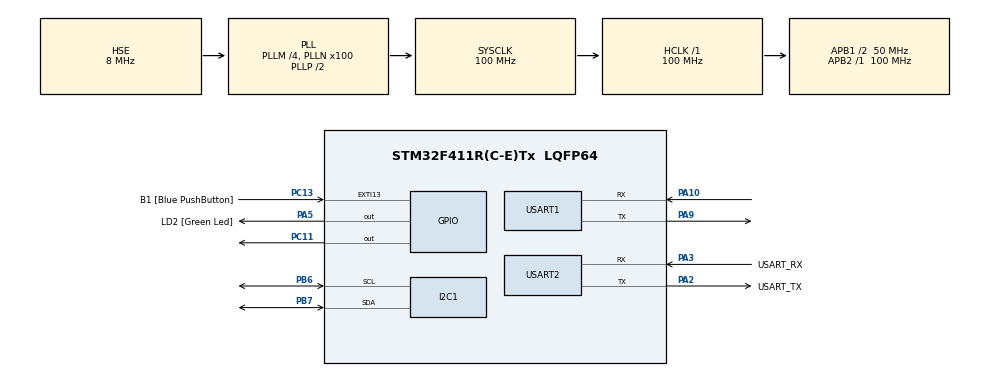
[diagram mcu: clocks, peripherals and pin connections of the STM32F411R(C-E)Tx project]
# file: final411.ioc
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Mcu.Family=STM32F4
Mcu.Name=STM32F411R(C-E)Tx
Mcu.Package=LQFP64
NVIC.PriorityGroup=NVIC_PRIORITYGROUP_0
PA10.Mode=Asynchronous
PA10.Signal=USART1_RX
PA13.GPIO_Label=TMS
PA13.Mode=Serial_Wire
PA13.Signal=SYS_JTMS-SWDIO
PA14.GPIO_Label=TCK
PA14.Mode=Serial_Wire
PA14.Signal=SYS_JTCK-SWCLK
PA2.GPIO_Label=USART_TX
PA2.Mode=Asynchronous
PA2.Signal=USART2_TX
PA3.GPIO_Label=USART_RX
PA3.Mode=Asynchronous
PA3.Signal=USART2_RX
PA5.GPIO_Label=LD2 [Green Led]
PA5.Signal=GPIO_Output
PA9.Mode=Asynchronous
PA9.Signal=USART1_TX
PB3.GPIO_Label=SWO
PB3.Signal=SYS_JTDO-SWO
PB6.Mode=I2C
PB6.Signal=I2C1_SCL
PB7.Mode=I2C
PB7.Signal=I2C1_SDA
PC11.Signal=GPIO_Output
PC13-ANTI_TAMP.GPIO_Label=B1 [Blue PushButton]
PC13-ANTI_TAMP.GPIO_ModeDefaultEXTI=GPIO_MODE_IT_FALLING
PC13-ANTI_TAMP.Signal=GPXTI13
PC14-OSC32_IN.Mode=LSE-External-Oscillator
PC14-OSC32_IN.Signal=RCC_OSC32_IN
PC15-OSC32_OUT.Mode=LSE-External-Oscillator
PC15-OSC32_OUT.Signal=RCC_OSC32_OUT
PH0\ -\ OSC_IN.Mode=HSE-External-Oscillator
PH0\ -\ OSC_IN.Signal=RCC_OSC_IN
PH1\ -\ OSC_OUT.Mode=HSE-External-Oscillator
PH1\ -\ OSC_OUT.Signal=RCC_OSC_OUT
ProjectManager.HeapSize=0x200
ProjectManager.StackSize=0x400
ProjectManager.TargetToolchain=STM32CubeIDE
RCC.48MHZClocksFreq_Value=50000000
RCC.AHBFreq_Value=100000000
RCC.APB1CLKDivider=RCC_HCLK_DIV2
RCC.APB1Freq_Value=50000000
RCC.APB1TimFreq_Value=100000000
RCC.APB2Freq_Value=100000000
RCC.APB2TimFreq_Value=100000000
RCC.CortexFreq_Value=100000000
RCC.FLatency-AdvancedSettings=FLASH_LATENCY_3
RCC.HCLKFreq_Value=100000000
RCC.HSE_VALUE=8000000
RCC.HSI_VALUE=16000000
RCC.PLLM=4
RCC.PLLN=100
RCC.PLLSourceVirtual=RCC_PLLSOURCE_HSE
RCC.SYSCLKFreq_VALUE=100000000
RCC.SYSCLKSource=RCC_SYSCLKSOURCE_PLLCLK
RCC.VCOOutputFreq_Value=200000000
TIM1.Prescaler=63
TIM3.Prescaler=99
USART1.VirtualMode=VM_ASYNC
USART2.VirtualMode=VM_ASYNC
VP_TIM1_VS_ClockSourceINT.Mode=Internal
VP_TIM3_VS_ClockSourceINT.Mode=Internal
board=NUCLEO-F411RE

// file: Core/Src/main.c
/* USER CODE BEGIN Header */
/**
  ******************************************************************************
  * @file           : main.c
  * @brief          : Main program body
  ******************************************************************************
  * @attention
  *
  * Copyright (c) 2023 STMicroelectronics.
  * All rights reserved.
  *
  * This software is licensed under terms that can be found in the LICENSE file
  * in the root directory of this software component.
  * If no LICENSE file comes with this software, it is provided AS-IS.
  *
  ******************************************************************************
  */
/* USER CODE END Header */
#include "main.h"

/* USER CODE BEGIN Includes */
#include "ds18b20.h"
#include "onewire.h"
#include "ssd1306.h"
/* USER CODE END Includes */

/* USER CODE BEGIN PTD */
#define DHT22_PORT GPIOB
#define DHT22_PIN GPIO_PIN_8
/* USER CODE END PTD */

I2C_HandleTypeDef hi2c1;

TIM_HandleTypeDef htim1;
TIM_HandleTypeDef htim3;

UART_HandleTypeDef huart1;
UART_HandleTypeDef huart2;

void SystemClock_Config(void);
static void MX_GPIO_Init(void);
static void MX_USART2_UART_Init(void);
static void MX_TIM1_Init(void);
static void MX_TIM3_Init(void);
static void MX_USART1_UART_Init(void);
static void MX_I2C1_Init(void);

/* USER CODE BEGIN 0 */
void delay(uint16_t Delay){ // will delay = Delay * 1 micro second (Delay should not exceed 2^16 - 1)
    __HAL_TIM_SET_COUNTER(&htim3,0);  // set the counter value a 0
    while ((uint16_t)__HAL_TIM_GET_COUNTER(&htim3) < Delay);// wait for the counter to reach the us input in the parameter
}

uint8_t Rh_byte1, Rh_byte2, Temp_byte1, Temp_byte2;
uint16_t SUM, RH, TEMP;

float Temp = 0,Humi = 0;
uint8_t Presence = 0;

void Set_Pin_Output (GPIO_TypeDef *GPIOx, uint16_t GPIO_Pin){
	GPIO_InitTypeDef GPIO_InitStruct = {0};
	GPIO_InitStruct.Pin = GPIO_Pin;
	GPIO_InitStruct.Mode = GPIO_MODE_OUTPUT_PP;
	GPIO_InitStruct.Speed = GPIO_SPEED_FREQ_LOW;
	HAL_GPIO_Init(GPIOx, &GPIO_InitStruct);
}

void Set_Pin_Input (GPIO_TypeDef *GPIOx, uint16_t GPIO_Pin){
	GPIO_InitTypeDef GPIO_InitStruct = {0};
	GPIO_InitStruct.Pin = GPIO_Pin;
	GPIO_InitStruct.Mode = GPIO_MODE_INPUT;
	GPIO_InitStruct.Pull = GPIO_PULLUP;
	HAL_GPIO_Init(GPIOx, &GPIO_InitStruct);
}

void DHT22_Start (void)
{
	Set_Pin_Output(DHT22_PORT, DHT22_PIN); // set the pin as output
	HAL_GPIO_WritePin (DHT22_PORT, DHT22_PIN, 0);   // pull the pin low
	HAL_Delay(50);   // wait for > 1ms

	HAL_GPIO_WritePin (DHT22_PORT, DHT22_PIN, 1);   // pull the pin high
	delay (30);   // wait for 30us

	Set_Pin_Input(DHT22_PORT, DHT22_PIN);   // set as input
}
uint8_t DHT22_Check_Response (void)
{
	Set_Pin_Input(DHT22_PORT, DHT22_PIN);   // set as input
	uint8_t Response = 0;
	delay (40);  // wait for 40us
	if (!(HAL_GPIO_ReadPin (DHT22_PORT, DHT22_PIN))) // if the pin is low
	{
		delay (80);   // wait for 80us

		if ((HAL_GPIO_ReadPin (DHT22_PORT, DHT22_PIN))) Response = 1;  // if the pin is high, response is ok
		else Response = -1;
	}

	while ((HAL_GPIO_ReadPin (DHT22_PORT, DHT22_PIN)));// wait for the pin to go low
	return Response;
}
uint8_t DHT22_Read (void)
{
	uint8_t i=0,j;
	for (j=0;j<8;j++)
	{
		while (!(HAL_GPIO_ReadPin (DHT22_PORT, DHT22_PIN))){
			delay(1); // wait for the pin to go high
		}
		delay (40);   // wait for 40 us

		if (!(HAL_GPIO_ReadPin (DHT22_PORT, DHT22_PIN)))   // if the pin is low
		{
			i&= ~(1<<(7-j));   // write 0
		}
		else i|= (1<<(7-j));  // if the pin is high, write 1
		while ((HAL_GPIO_ReadPin (DHT22_PORT, DHT22_PIN))){
			delay(1);  // wait for the pin to go low
		}
	}
	return i;
}

float tempRead(){
//	if(!sensorInit())
//		return 0;
//	sensorWrite(0xCC);
//	sensorWrite(0x44);
//	if(!sensorInit())
//		return 0;
//	sensorWrite(0xCC);
//	sensorWrite(0xBE);
//	uint8_t temp = sensorRead();
//	temp |= sensorRead() << 8;
//	return temp;

	DS18B20_ReadAll();
	HAL_GPIO_WritePin(GPIOC, GPIO_PIN_11, 1);
	DS18B20_StartAll();
	HAL_GPIO_WritePin(GPIOC, GPIO_PIN_11, 0);
	uint8_t ROM_tmp[8];
	uint8_t i;
	float temperature;
	for(i=0;i<DS18B20_Quantity();i++){
		if(DS18B20_GetTemperature(i, &temperature)){
			return temperature;
		}
	}
}
/* USER CODE END 0 */

int main(void)
{

  /* MCU Configuration--------------------------------------------------------*/

  /* Reset of all peripherals, Initializes the Flash interface and the Systick. */
  HAL_Init();

  /* Configure the system clock */
  SystemClock_Config();

  /* Initialize all configured peripherals */
  MX_GPIO_Init();
  MX_USART2_UART_Init();
  MX_TIM1_Init();
  MX_TIM3_Init();
  MX_USART1_UART_Init();
  MX_I2C1_Init();
  /* USER CODE BEGIN 2 */
  ssd1306_init();

    ssd1306_write_string(font11x18, "");
    ssd1306_enter();
    ssd1306_write_string(font11x18, "Hello World");
    ssd1306_enter();
    ssd1306_update_screen();

  DS18B20_Init(DS18B20_Resolution_12bits);
  HAL_GPIO_WritePin(GPIOC, GPIO_PIN_11, 0);

  HAL_TIM_Base_Start(&htim1);
  HAL_TIM_Base_Start(&htim3);
  uint8_t T[3],H[3],Check;
  uint16_t Tsum;
  /* USER CODE END 2 */

  /* Infinite loop */
  /* USER CODE BEGIN WHILE */
  while (1)
  {
//	  HAL_UART_Transmit(&huart2, "Do\r\n", 4, 10);
	  DHT22_Start();
	  Presence = DHT22_Check_Response();
	  Rh_byte1 = DHT22_Read();
	  Rh_byte2 = DHT22_Read();
	  Temp_byte1 = DHT22_Read();
	  Temp_byte2 = DHT22_Read();
	  SUM = DHT22_Read();
	  Check = Rh_byte1 + Rh_byte2 + Temp_byte1 + Temp_byte2;
	  /*
	  TEMP = ((Temp_byte1<<8)|Temp_byte2)&32767;
	  RH = ((Rh_byte1<<8)|Rh_byte2)&32767;
	  */
	  Temp = (float)(TEMP/10.0);
	  Humi = (float)(RH/10.0);
	  Tsum = Temp_byte1*256 + Temp_byte2;
	  int Hsum = Rh_byte1*256 + Rh_byte2;
	  T[0] = '0' + Tsum/100;
	  T[1] = '0' + (Tsum%100)/10;
	  T[2] = '0' + (Tsum%10);
	  H[0] = '0' + Hsum/100;
	  H[1] = '0' + (Hsum%100)/10;
	  H[2] = '0' + (Hsum%10);
	  uint8_t t = Tsum/10 ;
	  uint8_t h = Hsum/10 ;
	  int thermoAv = 0;
	  float thermoSum = 0;
	  for(int i=1;i<=100;i++){
	  	thermoSum+=tempRead();
	  }
	  thermoAv = thermoSum/10;
	  HAL_UART_Transmit(&huart2, T, 3, 10);
	  //HAL_UART_Transmit(&huart1, &t, 1, 10);
	  HAL_UART_Transmit(&huart2, "\r\n", 2, 10);
	  //HAL_UART_Transmit(&huart2, &h, 1, 10);
	  HAL_UART_Transmit(&huart2, H, 3, 10);
	  HAL_UART_Transmit(&huart2, "\r\n", 2, 10);
	  //HAL_UART_Transmit(&huart2, skinTemp, sizeof(skinTemp), 10);
  //	  HAL_UART_Transmit(&huart2, H, 3, 10);
  //	  HAL_UART_Transmit(&huart2, "\r\n", 2, 10);
	  if(Check == SUM){
		  uint8_t t = Tsum/10 ;
		  uint8_t h = Hsum/10 ;
		  uint8_t s = thermoAv/10 ;
		  HAL_UART_Transmit(&huart2, "Good\r\n", 6, 10);
		  HAL_UART_Transmit(&huart1, &t, 1, 10);
		  HAL_Delay(30);
		  HAL_UART_Transmit(&huart1, &h, 1, 10);
		  HAL_Delay(30);
		  HAL_UART_Transmit(&huart1, &s, 1, 10);
	  }else{
		  HAL_UART_Transmit(&huart2, "Bad\r\n", 5, 10);
	  }
	  HAL_Delay(3000);
    /* USER CODE END WHILE */

  }
}

void SystemClock_Config(void)
{
  RCC_OscInitTypeDef RCC_OscInitStruct = {0};
  RCC_ClkInitTypeDef RCC_ClkInitStruct = {0};

  /** Configure the main internal regulator output voltage
  */
  __HAL_RCC_PWR_CLK_ENABLE();
  __HAL_PWR_VOLTAGESCALING_CONFIG(PWR_REGULATOR_VOLTAGE_SCALE1);

  /** Initializes the RCC Oscillators according to the specified parameters
  * in the RCC_OscInitTypeDef structure.
  */
  RCC_OscInitStruct.OscillatorType = RCC_OSCILLATORTYPE_HSE;
  RCC_OscInitStruct.HSEState = RCC_HSE_ON;
  RCC_OscInitStruct.PLL.PLLState = RCC_PLL_ON;
  RCC_OscInitStruct.PLL.PLLSource = RCC_PLLSOURCE_HSE;
  RCC_OscInitStruct.PLL.PLLM = 4;
  RCC_OscInitStruct.PLL.PLLN = 100;
  RCC_OscInitStruct.PLL.PLLP = RCC_PLLP_DIV2;
  RCC_OscInitStruct.PLL.PLLQ = 4;
  if (HAL_RCC_OscConfig(&RCC_OscInitStruct) != HAL_OK)
  {
    Error_Handler();
  }

  /** Initializes the CPU, AHB and APB buses clocks
  */
  RCC_ClkInitStruct.ClockType = RCC_CLOCKTYPE_HCLK|RCC_CLOCKTYPE_SYSCLK
                              |RCC_CLOCKTYPE_PCLK1|RCC_CLOCKTYPE_PCLK2;
  RCC_ClkInitStruct.SYSCLKSource = RCC_SYSCLKSOURCE_PLLCLK;
  RCC_ClkInitStruct.AHBCLKDivider = RCC_SYSCLK_DIV1;
  RCC_ClkInitStruct.APB1CLKDivider = RCC_HCLK_DIV2;
  RCC_ClkInitStruct.APB2CLKDivider = RCC_HCLK_DIV1;

  if (HAL_RCC_ClockConfig(&RCC_ClkInitStruct, FLASH_LATENCY_3) != HAL_OK)
  {
    Error_Handler();
  }
}

static void MX_I2C1_Init(void)
{

  hi2c1.Instance = I2C1;
  hi2c1.Init.ClockSpeed = 100000;
  hi2c1.Init.DutyCycle = I2C_DUTYCYCLE_2;
  hi2c1.Init.OwnAddress1 = 0;
  hi2c1.Init.AddressingMode = I2C_ADDRESSINGMODE_7BIT;
  hi2c1.Init.DualAddressMode = I2C_DUALADDRESS_DISABLE;
  hi2c1.Init.OwnAddress2 = 0;
  hi2c1.Init.GeneralCallMode = I2C_GENERALCALL_DISABLE;
  hi2c1.Init.NoStretchMode = I2C_NOSTRETCH_DISABLE;
  if (HAL_I2C_Init(&hi2c1) != HAL_OK)
  {
    Error_Handler();
  }

}

static void MX_TIM1_Init(void)
{

  TIM_ClockConfigTypeDef sClockSourceConfig = {0};
  TIM_MasterConfigTypeDef sMasterConfig = {0};

  htim1.Instance = TIM1;
  htim1.Init.Prescaler = 63;
  htim1.Init.CounterMode = TIM_COUNTERMODE_UP;
  htim1.Init.Period = 65535;
  htim1.Init.ClockDivision = TIM_CLOCKDIVISION_DIV1;
  htim1.Init.RepetitionCounter = 0;
  htim1.Init.AutoReloadPreload = TIM_AUTORELOAD_PRELOAD_DISABLE;
  if (HAL_TIM_Base_Init(&htim1) != HAL_OK)
  {
    Error_Handler();
  }
  sClockSourceConfig.ClockSource = TIM_CLOCKSOURCE_INTERNAL;
  if (HAL_TIM_ConfigClockSource(&htim1, &sClockSourceConfig) != HAL_OK)
  {
    Error_Handler();
  }
  sMasterConfig.MasterOutputTrigger = TIM_TRGO_RESET;
  sMasterConfig.MasterSlaveMode = TIM_MASTERSLAVEMODE_DISABLE;
  if (HAL_TIMEx_MasterConfigSynchronization(&htim1, &sMasterConfig) != HAL_OK)
  {
    Error_Handler();
  }

}

static void MX_TIM3_Init(void)
{

  TIM_ClockConfigTypeDef sClockSourceConfig = {0};
  TIM_MasterConfigTypeDef sMasterConfig = {0};

  htim3.Instance = TIM3;
  htim3.Init.Prescaler = 99;
  htim3.Init.CounterMode = TIM_COUNTERMODE_UP;
  htim3.Init.Period = 65535;
  htim3.Init.ClockDivision = TIM_CLOCKDIVISION_DIV1;
  htim3.Init.AutoReloadPreload = TIM_AUTORELOAD_PRELOAD_DISABLE;
  if (HAL_TIM_Base_Init(&htim3) != HAL_OK)
  {
    Error_Handler();
  }
  sClockSourceConfig.ClockSource = TIM_CLOCKSOURCE_INTERNAL;
  if (HAL_TIM_ConfigClockSource(&htim3, &sClockSourceConfig) != HAL_OK)
  {
    Error_Handler();
  }
  sMasterConfig.MasterOutputTrigger = TIM_TRGO_RESET;
  sMasterConfig.MasterSlaveMode = TIM_MASTERSLAVEMODE_DISABLE;
  if (HAL_TIMEx_MasterConfigSynchronization(&htim3, &sMasterConfig) != HAL_OK)
  {
    Error_Handler();
  }

}

static void MX_USART1_UART_Init(void)
{

  huart1.Instance = USART1;
  huart1.Init.BaudRate = 115200;
  huart1.Init.WordLength = UART_WORDLENGTH_8B;
  huart1.Init.StopBits = UART_STOPBITS_1;
  huart1.Init.Parity = UART_PARITY_NONE;
  huart1.Init.Mode = UART_MODE_TX_RX;
  huart1.Init.HwFlowCtl = UART_HWCONTROL_NONE;
  huart1.Init.OverSampling = UART_OVERSAMPLING_16;
  if (HAL_UART_Init(&huart1) != HAL_OK)
  {
    Error_Handler();
  }

}

static void MX_USART2_UART_Init(void)
{

  huart2.Instance = USART2;
  huart2.Init.BaudRate = 115200;
  huart2.Init.WordLength = UART_WORDLENGTH_8B;
  huart2.Init.StopBits = UART_STOPBITS_1;
  huart2.Init.Parity = UART_PARITY_NONE;
  huart2.Init.Mode = UART_MODE_TX_RX;
  huart2.Init.HwFlowCtl = UART_HWCONTROL_NONE;
  huart2.Init.OverSampling = UART_OVERSAMPLING_16;
  if (HAL_UART_Init(&huart2) != HAL_OK)
  {
    Error_Handler();
  }

}

static void MX_GPIO_Init(void)
{
  GPIO_InitTypeDef GPIO_InitStruct = {0};

  /* GPIO Ports Clock Enable */
  __HAL_RCC_GPIOC_CLK_ENABLE();
  __HAL_RCC_GPIOH_CLK_ENABLE();
  __HAL_RCC_GPIOA_CLK_ENABLE();
  __HAL_RCC_GPIOB_CLK_ENABLE();

  /*Configure GPIO pin Output Level */
  HAL_GPIO_WritePin(LD2_GPIO_Port, LD2_Pin, GPIO_PIN_RESET);

  /*Configure GPIO pin Output Level */
  HAL_GPIO_WritePin(GPIOC, GPIO_PIN_11, GPIO_PIN_RESET);

  /*Configure GPIO pin : B1_Pin */
  GPIO_InitStruct.Pin = B1_Pin;
  GPIO_InitStruct.Mode = GPIO_MODE_IT_FALLING;
  GPIO_InitStruct.Pull = GPIO_NOPULL;
  HAL_GPIO_Init(B1_GPIO_Port, &GPIO_InitStruct);

  /*Configure GPIO pin : LD2_Pin */
  GPIO_InitStruct.Pin = LD2_Pin;
  GPIO_InitStruct.Mode = GPIO_MODE_OUTPUT_PP;
  GPIO_InitStruct.Pull = GPIO_NOPULL;
  GPIO_InitStruct.Speed = GPIO_SPEED_FREQ_LOW;
  HAL_GPIO_Init(LD2_GPIO_Port, &GPIO_InitStruct);

  /*Configure GPIO pin : PC11 */
  GPIO_InitStruct.Pin = GPIO_PIN_11;
  GPIO_InitStruct.Mode = GPIO_MODE_OUTPUT_PP;
  GPIO_InitStruct.Pull = GPIO_NOPULL;
  GPIO_InitStruct.Speed = GPIO_SPEED_FREQ_LOW;
  HAL_GPIO_Init(GPIOC, &GPIO_InitStruct);

}

void Error_Handler(void)
{
  __disable_irq();
  while (1)
  {
  }
}
